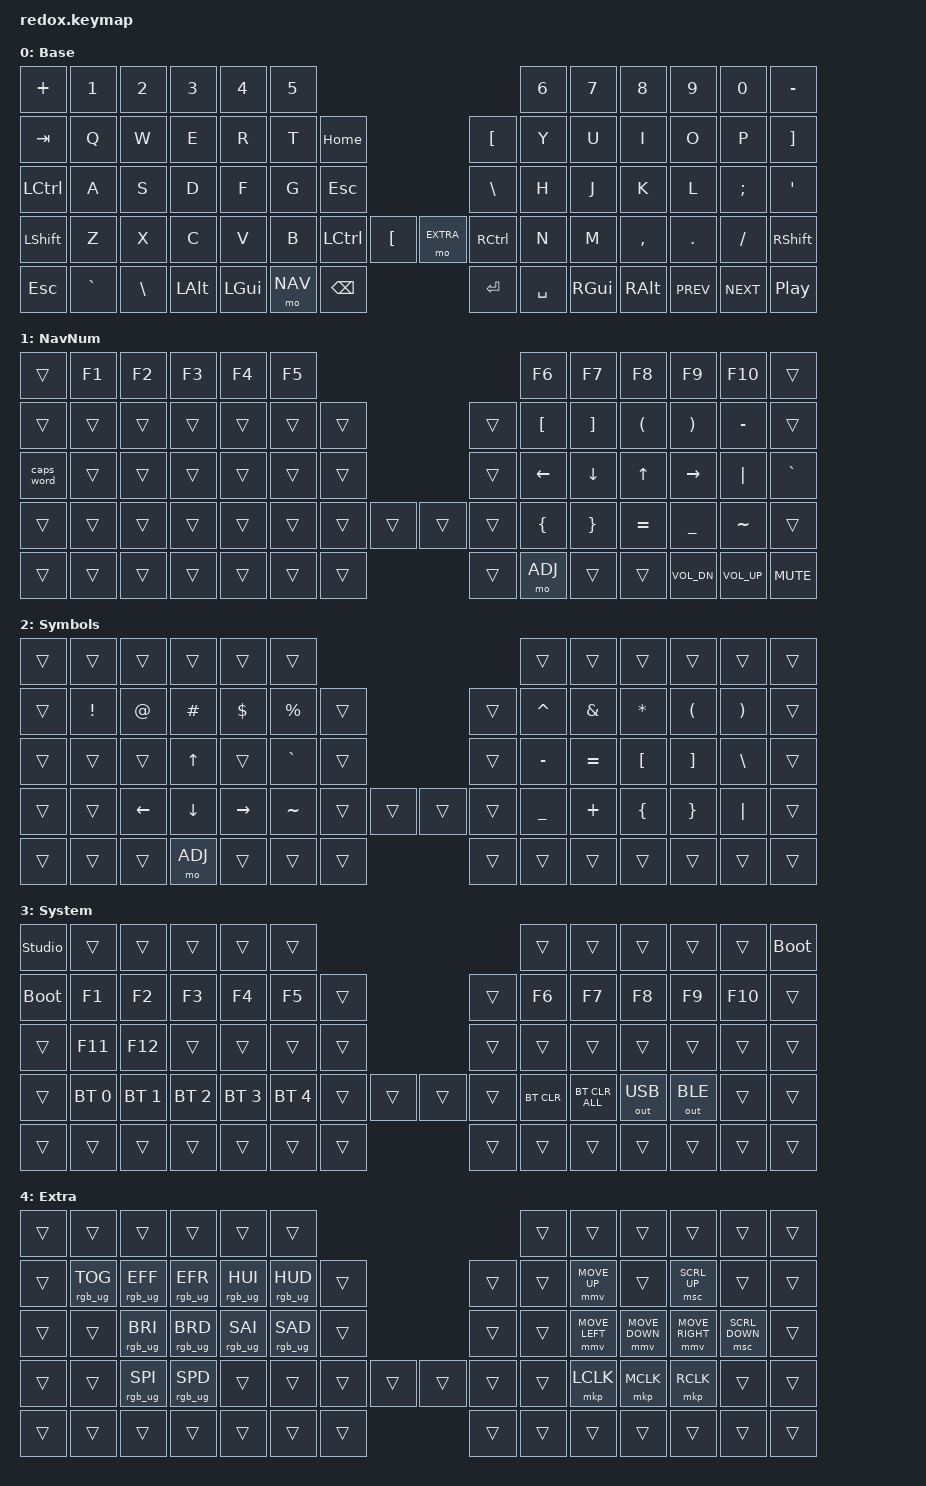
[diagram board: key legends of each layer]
/*
 * Redox FT keymap - port z corne-kbh
 *
 * 5 warstw: DEF, NAV, SYM, ADJ, EXTRA
 * 35 per-key LED na każdej połówce (LED data na D1/TX, dzielone z nice_view CS jak w corne/sofle)
 * Kompatybilne z ZMK Studio
 *
 * Dodatkowe klawisze Redoxa względem Corne (28 nowych pozycji):
 *  - skrajna lewa kolumna każdej strony (10 klawiszy)
 *  - górny rząd cyfrowy (12 klawiszy)
 *  - wewnętrzna kolumna obok kciuków (4 klawisze)
 *  - rozszerzony thumb cluster (4 klawisze)
 */

#include <behaviors.dtsi>
#include <dt-bindings/zmk/bt.h>
#include <dt-bindings/zmk/keys.h>
#include <dt-bindings/zmk/pointing.h>
#include <dt-bindings/zmk/rgb.h>
#include <dt-bindings/zmk/outputs.h>

#define DEF 0
#define NAV 1
#define SYM 2
#define ADJ 3
#define EXTRA 4

/* Override chain-length: shield Redox ma domyślnie 10, my mamy 35 per strona */
&led_strip {
    chain-length = <35>;
};

/ {
    behaviors {
        /* hm: homerow_mods { */
        /*     compatible = "zmk,behavior-hold-tap"; */
        /*     #binding-cells = <2>; */
        /*     tapping-term-ms = <200>; */
        /*     flavor = "tap-preferred"; */
        /*     bindings = <&kp>, <&kp>; */

        /*     quick-tap-ms = <180>; */
        /*     require-prior-idle-ms = <120>; */
        /* }; */

        /* para: para { */
        /*     compatible = "zmk,behavior-tap-dance"; */
        /*     #binding-cells = <0>; */
        /*     bindings = <&kp LEFT_PARENTHESIS>, <&kp RIGHT_PARENTHESIS>; */
        /* }; */

        /* caps: caps { */
        /*     compatible = "zmk,behavior-caps-word"; */
        /*     #binding-cells = <0>; */
        /*     continue-list = <MINUS BACKSPACE>; */
        /* }; */

        /* paraless: paraless { */
        /*     compatible = "zmk,behavior-mod-morph"; */
        /*     bindings = <&kp LEFT_PARENTHESIS>, <&kp LESS_THAN>; */
        /*     #binding-cells = <0>; */
        /*     mods = <(MOD_LSFT)>; */
        /* }; */

        /* paragreat: paragreat { */
        /*     compatible = "zmk,behavior-mod-morph"; */
        /*     bindings = <&kp RIGHT_PARENTHESIS>, <&kp GREATER_THAN>; */
        /*     #binding-cells = <0>; */
        /*     mods = <(MOD_LSFT)>; */
        /* }; */
    };

    macros {
        /* browsertab: browsertab { */
        /*     compatible = "zmk,behavior-macro"; */
        /*     #binding-cells = <0>; */
        /*     bindings = */
        /*         <&macro_press>, */
        /*         <&kp LCTRL>, */
        /*         <&macro_tap>, */
        /*         <&kp TAB>, */
        /*         <&macro_release>, */
        /*         <&kp LCTRL>; */
        /* }; */
    };

    /*
     * Numeracja klawiszy w Redoxie (po matrix transform):
     *
     *  Rząd 0:  0  1  2  3  4  5                   6  7  8  9  10 11
     *  Rząd 1: 12 13 14 15 16 17 18              19 20 21 22 23 24 25
     *  Rząd 2: 26 27 28 29 30 31 32              33 34 35 36 37 38 39
     *  Rząd 3: 40 41 42 43 44 45 46 47        48 49 50 51 52 53 54 55
     *  Rząd 4: 56 57 58 59 60    61 62 63    64 65 66    67 68 69
     *
     * UWAGA: pozycje w combos zostały przeliczone z Corne (42-key) na Redox (70-key).
     * W Corne były: 13 29, 15 21, itp. W Redoxie te same litery są pod innymi numerami.
     * Mapping (litery z bazowego DEF):
     *   Q=14 W=15 E=16 R=17 T=18    Y=20 U=21 I=22 O=23 P=24
     *   A=28 S=29 D=30 F=31 G=32    H=34 J=35 K=36 L=37 ;=38
     *   Z=42 X=43 C=44 V=45 B=46    N=50 M=51 ,=52 .=53 /=54
     */
    combos {
        compatible = "zmk,combos";

/*         /1* ESC = D + K (jak w Corne: pozycje 13+29 → tu 30+36) *1/ */
/*         escape { */
/*             bindings = <&kp ESCAPE>; */
/*             key-positions = <30 36>; */
/*         }; */

/*         /1* DEL = R + U (Corne 15+21 → Redox 17+21) *1/ */
/*         delete { */
/*             bindings = <&kp DELETE>; */
/*             key-positions = <17 21>; */
/*         }; */

/*         /1* % = T + J (Corne 5+17 → Redox 18+35) *1/ */
/*         perc { */
/*             bindings = <&kp PERCENT>; */
/*             key-positions = <18 35>; */
/*             layers = <0>; */
/*         }; */

/*         /1* = = (V + J) (Corne 28+16 → Redox 45+35) *1/ */
/*         equal { */
/*             bindings = <&kp EQUAL>; */
/*             key-positions = <45 35>; */
/*             layers = <0>; */
/*         }; */

/*         /1* $ = R + J (Corne 4+16 → Redox 17+35) *1/ */
/*         dollar { */
/*             bindings = <&kp DOLLAR>; */
/*             key-positions = <17 35>; */
/*             layers = <0>; */
/*         }; */

/*         /1* # = E + K (Corne 3+15 → Redox 16+36) *1/ */
/*         pound { */
/*             bindings = <&kp POUND>; */
/*             key-positions = <16 36>; */
/*             layers = <0>; */
/*         }; */

/*         /1* @ = W + L (Corne 2+14 → Redox 15+37) *1/ */
/*         at { */
/*             bindings = <&kp AT>; */
/*             key-positions = <15 37>; */
/*             layers = <0>; */
/*         }; */

/*         /1* \ = C + L (Corne 26+14 → Redox 44+37) *1/ */
/*         backslash { */
/*             bindings = <&kp BACKSLASH>; */
/*             key-positions = <44 37>; */
/*             layers = <0>; */
/*         }; */

/*         /1* * = U + M (Corne 8+20 → Redox 21+51) *1/ */
/*         star { */
/*             bindings = <&kp STAR>; */
/*             key-positions = <21 51>; */
/*             layers = <0>; */
/*         }; */

/*         /1* / = M + . (Corne 32+20 → Redox 51+53) - uwaga: uważne sprawdzenie *1/ */
/*         slash { */
/*             bindings = <&kp SLASH>; */
/*             key-positions = <53 51>; */
/*             layers = <0>; */
/*         }; */

/*         /1* + = Y + N (Corne 7+19 → Redox 20+50) *1/ */
/*         plus { */
/*             bindings = <&kp PLUS>; */
/*             key-positions = <20 50>; */
/*             layers = <0>; */
/*         }; */

/*         /1* - = N + , (Corne 31+19 → Redox 50+52) *1/ */
/*         minus { */
/*             bindings = <&kp KP_MINUS>; */
/*             key-positions = <50 52>; */
/*             layers = <0>; */
/*         }; */

/*         /1* _ = , + . (Corne 30+18 → Redox 52+53) *1/ */
/*         underscore { */
/*             bindings = <&kp UNDER>; */
/*             key-positions = <52 53>; */
/*             layers = <0>; */
/*         }; */

/*         /1* [ = N + M (Corne 31+32 → Redox 50+51) *1/ */
/*         leftbrack { */
/*             bindings = <&kp LEFT_BRACKET>; */
/*             key-positions = <50 51>; */
/*             layers = <0>; */
/*         }; */

/*         /1* ] = , + M (Corne 33+32 → Redox 52+51) *1/ */
/*         rightbrack { */
/*             bindings = <&kp RIGHT_BRACKET>; */
/*             key-positions = <52 51>; */
/*             layers = <0>; */
/*         }; */

/*         /1* < = M + N (paraless) - Corne 20+19 → Redox 51+50 *1/ */
/*         para-less { */
/*             bindings = <&paraless>; */
/*             key-positions = <51 50>; */
/*             layers = <0>; */
/*         }; */

/*         /1* > = M + , (paragreat) - Corne 20+21 - to były inne pozycje, używam M+, na razie *1/ */
/*         para-great { */
/*             bindings = <&paragreat>; */
/*             key-positions = <51 52>; */
/*             layers = <0>; */
/*         }; */
    };

    keymap {
        compatible = "zmk,keymap";

        DEF {
            display-name = "Base";

/*
 * ┌──────┬──────┬──────┬──────┬──────┬──────┐                           ┌──────┬──────┬──────┬──────┬──────┬──────┐
 * │  =   │  1   │  2   │  3   │  4   │  5   │                           │  6   │  7   │  8   │  9   │  0   │  -   │
 * ├──────┼──────┼──────┼──────┼──────┼──────┼──────┐             ┌──────┼──────┼──────┼──────┼──────┼──────┼──────┤
 * │ TAB  │  Q   │  W   │  E   │  R   │  T   │ HOME │             │ PGUP │  Y   │  U   │  I   │  O   │  P   │ BSPC │
 * ├──────┼──────┼──────┼──────┼──────┼──────┼──────┤             ├──────┼──────┼──────┼──────┼──────┼──────┼──────┤
 * │LSHFT │  A   │  S   │  D   │  F   │  G   │  END │             │ PGDN │  H   │  J   │  K   │  L   │  ;   │  '   │
 * ├──────┼──────┼──────┼──────┼──────┼──────┼──────┼──────┬──────┼──────┼──────┼──────┼──────┼──────┼──────┼──────┤
 * │LCTRL │  Z   │  X   │  C   │  V   │  B   │  (   │  [   │  ]   │  )   │  N   │  M   │  ,   │  .   │  /   │mo EX │
 * ├──────┼──────┼──────┼──────┼──────┼──────┴──────┼──────┼──────┼──────┼──────┴──────┼──────┼──────┼──────┼──────┤
 * │ESC   │ ALT  │ GUI  │mo NAV│    SPACE    │ LGUI │ DEL  │ENTER │   lt SYM    │mo NAV│ LEFT │ DOWN │ UP   │RIGHT │
 * └──────┴──────┴──────┴──────┴─────────────┴──────┴──────┴──────┴────────────────────┴──────┴──────┴──────┴──────┘
 */
            bindings = <
&kp PLUS   &kp N1     &kp N2    &kp N3   &kp N4   &kp N5                                              &kp N6     &kp N7     &kp N8        &kp N9    &kp N0    &kp MINUS
&kp TAB    &kp Q      &kp W     &kp E    &kp R    &kp T      &kp HOME                      &kp LBKT   &kp Y      &kp U      &kp I         &kp O     &kp P     &kp RBKT
&kp LCTRL  &kp A      &kp S     &kp D    &kp F    &kp G      &kp ESC                       &kp BSLH   &kp H      &kp J      &kp K         &kp L     &kp SEMI  &kp SQT
&kp LSHFT  &kp Z      &kp X     &kp C    &kp V    &kp B      &kp LCTRL &kp LBKT  &mo EXTRA &kp RCTRL  &kp N      &kp M      &kp COMMA     &kp DOT   &kp FSLH  &kp RSHFT
&kp ESC    &kp GRAVE  &kp BSLH  &kp LALT       &kp LGUI      &mo NAV   &kp BSPC  &kp RET   &kp SPACE           &kp RGUI     &kp RALT      &kp C_PREV  &kp C_NEXT &kp C_PP
            >;
        };

        NAV {
            display-name = "NavNum";

/*
 * Numpad po prawej (4/5/6 i 1/2/3 jak w starej warstwie NAV z Corne),
 * strzałki na home row prawej ręki, BT na lewej.
 */
            bindings = <
&trans     &kp F1        &kp F2        &kp F3        &kp F4           &kp F5                                          &kp F6     &kp F7    &kp F8    &kp F9    &kp F10   &trans
&trans     &trans        &trans        &trans        &trans           &trans         &trans                  &trans   &kp LBKT   &kp RBKT  &kp LPAR  &kp RPAR  &kp MINUS &trans
&caps_word &trans        &trans        &trans        &trans           &trans         &trans                  &trans   &kp LEFT   &kp DOWN  &kp UP    &kp RIGHT &kp PIPE  &kp GRAVE
&trans     &trans        &trans        &trans        &trans           &trans         &trans  &trans  &trans  &trans   &kp LBRC   &kp RBRC  &kp EQUAL &kp UNDER &kp TILDE &trans
&trans     &trans        &trans        &trans                  &trans                &trans  &trans  &trans  &mo ADJ       &trans    &trans    &kp C_VOL_DN &kp C_VOL_UP &kp C_MUTE
            >;
        };

        SYM {
            display-name = "Symbols";

/*
 * Symbole po prawej, strzałki centrum, znaki specjalne lewa.
 */
            bindings = <
&trans  &trans     &trans          &trans          &trans           &trans                                              &trans     &trans     &trans     &trans                &trans    &trans
&trans  &kp EXCL   &kp AT          &kp HASH        &kp DLLR         &kp PRCNT  &trans                          &trans   &kp CARET  &kp AMPS   &kp ASTRK  &kp LEFT_PARENTHESIS  &kp RPAR  &trans
&trans  &trans     &trans          &kp UP_ARROW    &trans           &kp GRAVE  &trans                          &trans   &kp MINUS  &kp EQUAL  &kp LBKT   &kp RBKT              &kp BSLH  &trans
&trans  &trans     &kp LEFT_ARROW  &kp DOWN_ARROW  &kp RIGHT_ARROW  &kp TILDE  &trans  &trans  &trans  &trans           &kp UNDER  &kp PLUS   &kp LBRC   &kp RBRC              &kp PIPE  &trans
&trans  &trans     &trans          &mo ADJ                  &trans             &trans  &trans  &trans  &trans                     &trans     &trans     &trans                &trans    &trans
            >;
        };

        ADJ {
            display-name = "System";
            bindings = <
&studio_unlock  &trans        &trans        &trans        &trans        &trans                                                                    &trans       &trans         &trans        &trans        &trans       &bootloader
&bootloader          &kp F1        &kp F2        &kp F3        &kp F4        &kp F5            &trans                                          &trans  &kp F6       &kp F7         &kp F8        &kp F9        &kp F10      &trans
&trans          &kp F11       &kp F12       &trans        &trans        &trans            &trans                                          &trans  &trans       &trans         &trans        &trans        &trans       &trans
&trans          &bt BT_SEL 0  &bt BT_SEL 1  &bt BT_SEL 2  &bt BT_SEL 3  &bt BT_SEL 4      &trans  &trans  &trans  &trans                          &bt BT_CLR   &bt BT_CLR_ALL &out OUT_USB  &out OUT_BLE  &trans  &trans
&trans          &trans        &trans        &trans                &trans                  &trans  &trans  &trans  &trans                                  &trans       &trans         &trans        &trans       &trans
            >;
        };

        EXTRA {
            display-name = "Extra";
/*
 * Lewa ręka: RGB controls
 *   Rząd 1: TOG | EFF (next effect) | EFR (prev effect) | HUI | HUD
 *   Rząd 2: -   | BRI                | BRD                | SAI | SAD
 *   Rząd 3: -   | SPI (speed up)     | SPD (speed down)   | -   | -
 *
 * Prawa ręka: mysz (ruch + scroll + kliki)
 */
            bindings = <
&trans  &trans            &trans            &trans            &trans            &trans                                                                       &trans  &trans         &trans         &trans     &trans  &trans
&trans  &rgb_ug RGB_TOG   &rgb_ug RGB_EFF   &rgb_ug RGB_EFR   &rgb_ug RGB_HUI   &rgb_ug RGB_HUD   &trans                                              &trans   &trans  &mmv MOVE_UP   &trans         &msc SCRL_UP   &trans  &trans
&trans  &trans            &rgb_ug RGB_BRI   &rgb_ug RGB_BRD   &rgb_ug RGB_SAI   &rgb_ug RGB_SAD   &trans                                              &trans   &trans  &mmv MOVE_LEFT &mmv MOVE_DOWN &mmv MOVE_RIGHT &msc SCRL_DOWN &trans
&trans  &trans            &rgb_ug RGB_SPI   &rgb_ug RGB_SPD   &trans            &trans            &trans   &trans  &trans  &trans                             &trans  &mkp LCLK      &mkp MCLK      &mkp RCLK  &trans  &trans
&trans  &trans            &trans            &trans                              &trans                      &trans   &trans  &trans  &trans                            &trans         &trans         &trans     &trans  &trans
            >;
        };
    };
};
